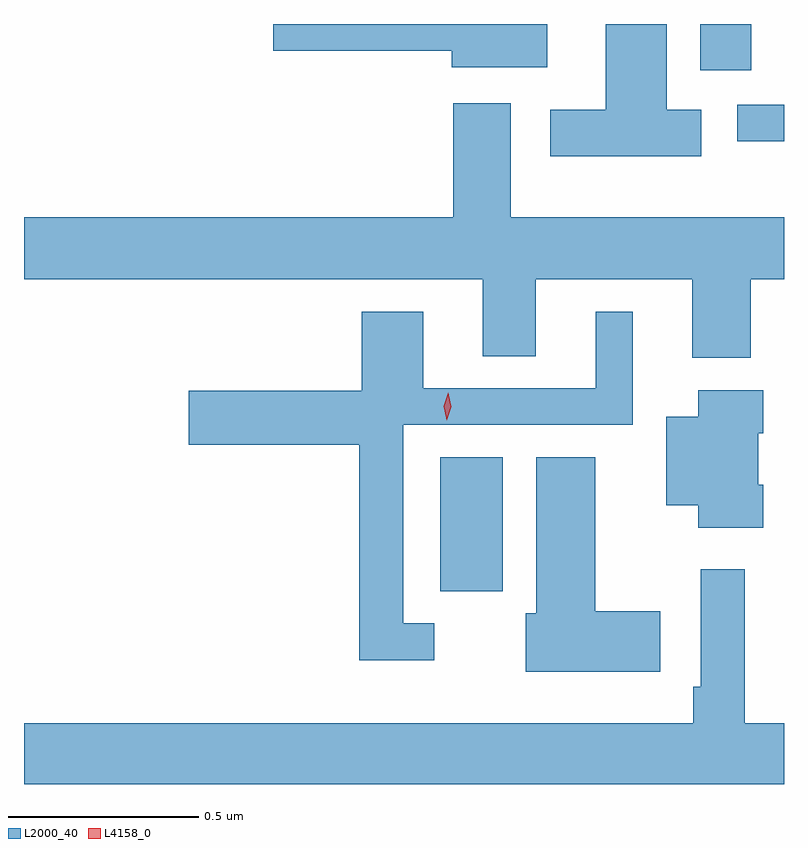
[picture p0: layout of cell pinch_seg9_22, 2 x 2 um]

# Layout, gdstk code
import gdstk
lib = gdstk.Library(unit=1e-6, precision=1e-09)
def R(c, l, rs):  # rectangles x0, y0, x1, y1
    for r in rs: c.add(gdstk.rectangle(r[:2], r[2:], *l))
def P(c, l, *ps):  # polygons
    for p in ps: c.add(gdstk.Polygon(p, *l))
L2000_40 = (2000, 40)
L4158_0 = (4158, 0)

pinch_seg9_22 = lib.new_cell('pinch_seg9_22')
R(pinch_seg9_22, L2000_40, [(977.186,1236.891,977.35,1237.244), (977.967,1238.075,978.09,1238.172), (977.87,1238.262,978.004,1238.384)])
P(pinch_seg9_22, L2000_40, [(977.467,1238.384),(976.746,1238.384),(976.746,1238.314),(977.216,1238.314),(977.216,1238.27),(977.467,1238.27)],
  [(977.872,1238.158),(977.782,1238.158),(977.782,1238.384),(977.621,1238.384),(977.621,1238.158),(977.475,1238.158),(977.475,1238.036),(977.872,1238.036)],
  [(978.002,1237.712),(978.09,1237.712),(978.09,1237.876),(977.371,1237.876),(977.371,1238.176),(977.219,1238.176),(977.219,1237.876),(976.09,1237.876),(976.09,1237.712),(977.297,1237.712),(977.297,1237.51),(977.437,1237.51),(977.437,1237.712),(977.849,1237.712),(977.849,1237.506),(978.002,1237.506)],
  [(977.17,1236.807),(977.088,1236.807),(977.088,1237.329),(977.692,1237.329),(977.692,1237.627),(977.594,1237.627),(977.594,1237.425),(977.14,1237.425),(977.14,1237.627),(976.979,1237.627),(976.979,1237.419),(976.524,1237.419),(976.524,1237.277),(976.972,1237.277),(976.972,1236.71),(977.17,1236.71)],
  [(978.035,1237.171),(978.022,1237.171),(978.022,1237.307),(978.035,1237.307),(978.035,1237.42),(977.864,1237.42),(977.864,1237.351),(977.78,1237.351),(977.78,1237.118),(977.864,1237.118),(977.864,1237.059),(978.035,1237.059)],
  [(977.764,1236.838),(977.593,1236.838),(977.593,1237.244),(977.438,1237.244),(977.438,1236.834),(977.411,1236.834),(977.411,1236.68),(977.764,1236.68)],
  [(978.09,1236.544),(977.987,1236.544),(977.987,1236.949),(977.871,1236.949),(977.871,1236.64),(977.851,1236.64),(977.851,1236.544),(976.09,1236.544),(976.09,1236.384),(978.09,1236.384)])
P(pinch_seg9_22, L4158_0, [(977.203,1237.341),(977.203,1237.341),(977.194,1237.378),(977.206,1237.413),(977.206,1237.413),(977.206,1237.413),(977.214,1237.377),(977.203,1237.341)])

lib.write_gds('pinch_seg9_22.gds')
